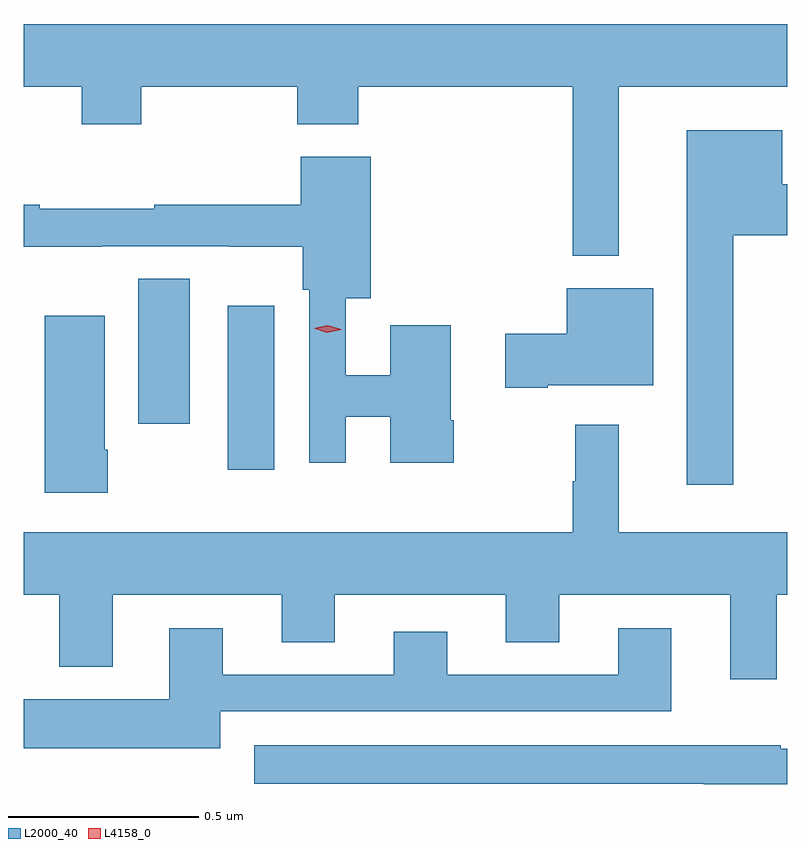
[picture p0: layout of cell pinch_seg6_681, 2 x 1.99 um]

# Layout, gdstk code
import gdstk
lib = gdstk.Library(unit=1e-6, precision=1e-09)
def R(c, l, rs):  # rectangles x0, y0, x1, y1
    for r in rs: c.add(gdstk.rectangle(r[:2], r[2:], *l))
def P(c, l, *ps):  # polygons
    for p in ps: c.add(gdstk.Polygon(p, *l))
L2000_40 = (2000, 40)
L4158_0 = (4158, 0)

pinch_seg6_681 = lib.new_cell('pinch_seg6_681')
R(pinch_seg6_681, L2000_40, [(410.672,918.36,410.794,918.79), (410.438,918.48,410.572,918.86)])
P(pinch_seg6_681, L2000_40, [(411.697,919.364),(412.138,919.364),(412.138,919.528),(410.138,919.528),(410.138,919.364),(410.29,919.364),(410.29,919.265),(410.445,919.265),(410.445,919.364),(410.854,919.364),(410.854,919.265),(411.014,919.265),(411.014,919.364),(411.576,919.364),(411.576,918.92),(411.697,918.92)],
  [(411.997,918.974),(412.138,918.974),(412.138,919.108),(412.126,919.108),(412.126,919.249),(411.875,919.249),(411.875,918.321),(411.997,918.321)],
  [(410.982,918.498),(411.098,918.498),(411.098,918.378),(411.264,918.378),(411.264,918.49),(411.256,918.49),(411.256,918.739),(411.098,918.739),(411.098,918.608),(410.982,918.608),(410.982,918.809),(411.047,918.809),(411.047,919.18),(410.864,919.18),(410.864,919.054),(410.48,919.054),(410.48,919.044),(410.179,919.044),(410.179,919.054),(410.138,919.054),(410.138,918.944),(410.342,918.944),(410.342,918.945),(410.676,918.945),(410.676,918.944),(410.869,918.944),(410.869,918.831),(410.886,918.831),(410.886,918.378),(410.982,918.378)],
  [(411.511,918.581),(411.787,918.581),(411.787,918.835),(411.56,918.835),(411.56,918.716),(411.399,918.716),(411.399,918.574),(411.511,918.574)],
  [(410.358,918.412),(410.35,918.412),(410.35,918.763),(410.192,918.763),(410.192,918.3),(410.358,918.3)],
  [(412.111,918.032),(412.138,918.032),(412.138,918.196),(411.697,918.196),(411.697,918.478),(411.583,918.478),(411.583,918.329),(411.576,918.329),(411.576,918.196),(410.138,918.196),(410.138,918.032),(410.231,918.032),(410.231,917.843),(410.371,917.843),(410.371,918.032),(410.813,918.032),(410.813,917.908),(410.953,917.908),(410.953,918.032),(411.401,918.032),(411.401,917.908),(411.541,917.908),(411.541,918.032),(411.989,918.032),(411.989,917.811),(412.111,917.811)],
  [(410.653,917.727),(411.835,917.727),(411.835,917.944),(411.695,917.944),(411.695,917.823),(411.247,917.823),(411.247,917.935),(411.107,917.935),(411.107,917.823),(410.659,917.823),(410.659,917.944),(410.519,917.944),(410.519,917.758),(410.138,917.758),(410.138,917.63),(410.653,917.63)],
  [(412.138,917.628),(412.122,917.628),(412.122,917.638),(410.742,917.638),(410.742,917.537),(411.92,917.537),(411.92,917.536),(412.138,917.536)])
P(pinch_seg6_681, L4158_0, [(410.932,918.719),(410.897,918.73),(410.897,918.731),(410.897,918.731),(410.934,918.739),(410.969,918.728),(410.969,918.727),(410.969,918.727)])

lib.write_gds('pinch_seg6_681.gds')
